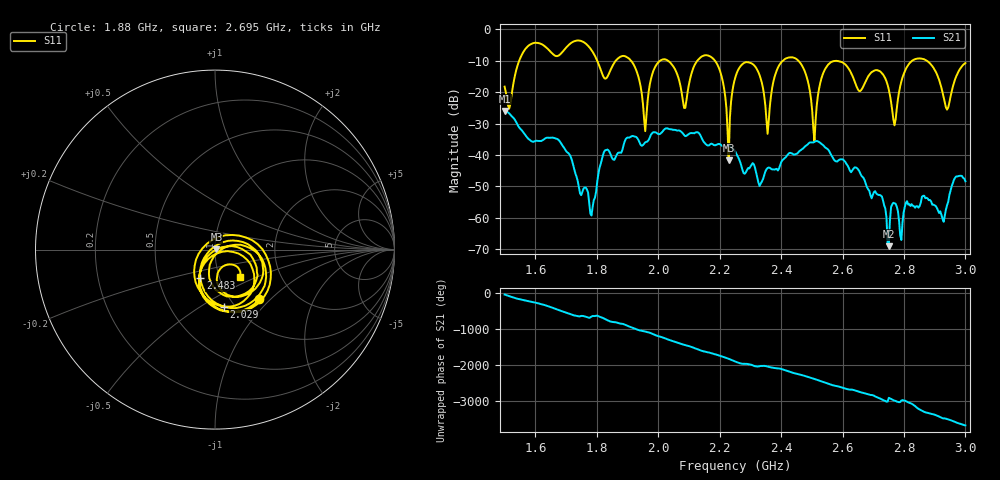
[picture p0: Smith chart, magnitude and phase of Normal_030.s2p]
# HZ S RI R 50
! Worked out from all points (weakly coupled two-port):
!   404 points, 1.5 GHz to 3 GHz, reference 50 ohm
!   highest |S21| = -26.03 dB at 1.5 GHz (marker M1); lowest = -69.0 dB at 2.751 GHz (marker M2)
!   lowest |S11| = -41.7 dB at 2.23 GHz (marker M3), VSWR 1.02, Z = 50.8 + j0.135 ohm
!   |S11| at or under -10 dB: 2.184 GHz to 2.406 GHz (221.9 MHz wide, 9.67 % of centre); 2.456 GHz to 2.827 GHz (371.8 MHz wide, 14.1 % of centre); 2.874 GHz to end of sweep (the widest 3 of 7)
!   S12 and S22 are empty: the file has one direction only
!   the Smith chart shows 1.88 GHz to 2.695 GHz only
!   S11 on the Smith chart (normalised r, x): 1.88 GHz: 1.35, -0.85; 2.029 GHz: 0.90, -0.63; 2.483 GHz: 0.81, -0.27; 2.695 GHz: 1.26, -0.40
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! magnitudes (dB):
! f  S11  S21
! 1.5 GHz  -18.3  -26.0
! 1.753 GHz  -3.9  -51.8
! 1.88 GHz  -8.7  -39.3
! 1.958 GHz  -32.4  -36.0
! 2.002 GHz  -10.3  -33.4
! 2.029 GHz  -9.9  -31.5
! 2.084 GHz  -25.1  -33.7
! 2.177 GHz  -9.3  -36.6
! 2.23 GHz  -41.7  -37.2
! 2.252 GHz  -15.1  -39.1
! 2.315 GHz  -11.8  -44.1
! 2.356 GHz  -33.3  -44.1
! 2.404 GHz  -10.2  -41.7
! 2.483 GHz  -15.0  -36.9
! 2.501 GHz  -25.9  -36.0
! 2.561 GHz  -10.6  -39.6
! 2.695 GHz  -13.7  -53.8
! 2.751 GHz  -19.2  -69.0
! 2.769 GHz  -30.6  -55.4
! 2.862 GHz  -9.5  -53.0
! 2.94 GHz  -25.6  -55.9
! 3 GHz  -10.8  -48.3
